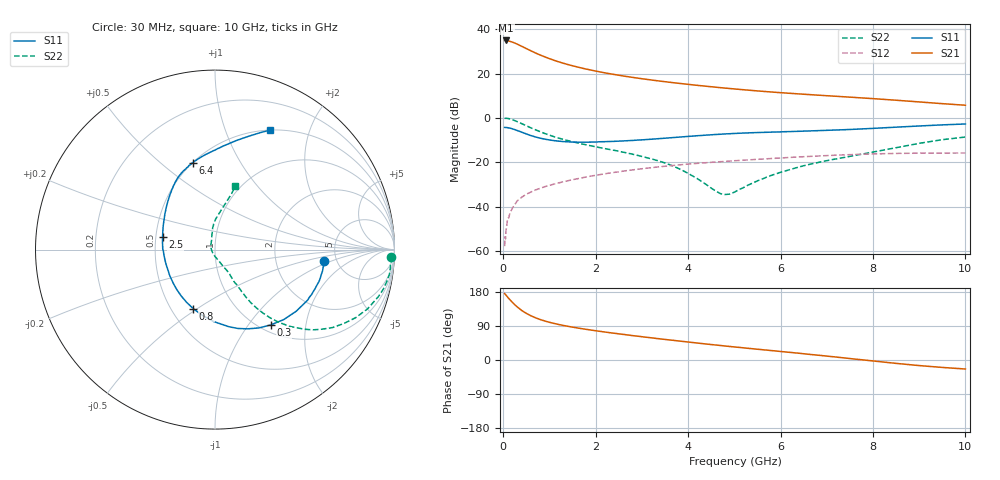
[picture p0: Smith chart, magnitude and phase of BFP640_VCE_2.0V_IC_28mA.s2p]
! Infineon Technologies  Discrete & RF Semiconductors
! BFP640
! VCE =  2.0 V,  IC =  28 mA
! Common Emitter S-Parameters:  Apr 2013
# GHz  S  MA  R  50
!  f  S11  S21  S12  S22
! GHz  MAG  ANG  MAG  ANG  MAG  ANG  MAG  ANG
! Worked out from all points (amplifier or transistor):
!   99 points, 30 MHz to 10 GHz, reference 50 ohm
!   highest |S21| = 34.9 dB at 60 MHz (marker M1)
!   |S21| within 3 dB of that: start of sweep to 435.6 MHz
!   unconditionally stable (mu >= 1): 2.304 GHz to end of sweep
!   at 350 MHz: K = 0.36, MSG = 34.7 dB, |S12| = -36.6 dB
!   at 3.5 GHz: K = 1.05, MAG = 17.7 dB, |S12| = -21.7 dB
!   at 10 GHz: K = 1.07, MAG = 9.2 dB, |S12| = -15.8 dB
!   S11 on the Smith chart (normalised r, x): 30 MHz: 4.00, -0.78; 300 MHz: 1.12, -1.29; 800 MHz: 0.64, -0.48; 2.5 GHz: 0.54, +0.08; 6.4 GHz: 0.50, +0.65; 10 GHz: 0.50, +1.44
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0.03  0.6127 -5.7  55.32 175.3  0.0013 86.5  0.9799 -2.3
0.06  0.6109 -11.3  55.48 170.9  0.0029 113.6  0.9821 -5.8
0.13  0.5937 -24.9  53.45 161.0  0.0063 79.6  0.9584 -14.1
0.2  0.5681 -37.2  50.78 151.9  0.0094 77.3  0.9112 -21.3
0.25  0.5466 -45.5  48.49 145.9  0.0112 73.7  0.8709 -25.8
0.3  0.5223 -53.4  46.01 140.4  0.0135 70.4  0.828 -29.8
0.4  0.4775 -67.6  41.02 130.8  0.0164 67.2  0.7437 -36.6
0.5  0.4363 -79.9  36.39 123.1  0.0192 64.9  0.6669 -41.7
0.6  0.4005 -91.2  32.39 116.6  0.0215 63.1  0.5977 -45.7
0.7  0.3728 -101.0  28.96 111.3  0.024 62.2  0.54 -48.7
0.8  0.3507 -110.2  26.08 106.8  0.026 61.3  0.4898 -51.0
1  0.3195 -126.2  21.61 99.5  0.0304 60.2  0.4102 -54.2
1.2  0.3006 -139.5  18.35 93.7  0.0345 59.0  0.3523 -56.1
1.7  0.2845 -165.6  13.27 82.7  0.0448 56.7  0.2607 -57.6
2.1  0.2913 179.1  10.83 75.5  0.0532 54.5  0.2138 -59.1
2.5  0.3007 166.4  9.142 69.0  0.0613 51.5  0.1782 -59.2
3.4  0.3443 144.0  6.742 55.7  0.0799 44.7  0.1047 -64.0
5.1  0.4521 117.0  4.404 33.3  0.1104 30.1  0.0243 155.7
6.4  0.5003 104.2  3.474 17.8  0.1327 18.9  0.0787 103.0
6.7  0.5134 100.8  3.315 14.0  0.1374 16.1  0.0939 99.6
8.5  0.6202 78.8  2.506 -8.9  0.159 -2.2  0.2139 82.1
10  0.7314 65.4  1.933 -23.8  0.1626 -14.1  0.3716 72.2
